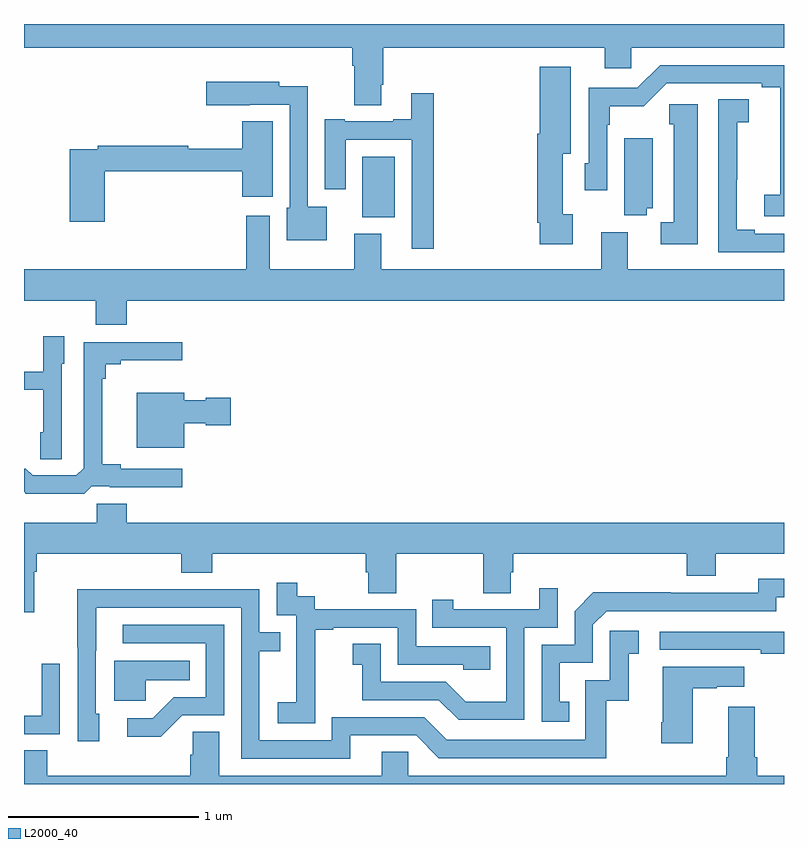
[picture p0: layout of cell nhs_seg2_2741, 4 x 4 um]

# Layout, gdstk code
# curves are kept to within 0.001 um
import gdstk
lib = gdstk.Library(unit=1e-6, precision=1e-09)
def R(c, l, rs):  # rectangles x0, y0, x1, y1
    for r in rs: c.add(gdstk.rectangle(r[:2], r[2:], *l))
def P(c, l, *ps):  # polygons
    for p in ps: c.add(gdstk.Polygon(p, *l))
L2000_40 = (2000, 40)

nhs_seg2_2741 = lib.new_cell('nhs_seg2_2741')
R(nhs_seg2_2741, L2000_40, [(256.781,606.782,256.951,607.102)])
P(nhs_seg2_2741, L2000_40, [(256.879,607.48),(256.892,607.48),(256.892,607.676),(258.056,607.676),(258.056,607.566),(258.195,607.566),(258.195,607.676),(259,607.676),(259,607.8),(255,607.8),(255,607.676),(256.727,607.676),(256.727,607.58),(256.739,607.58),(256.739,607.372),(256.879,607.372)],
  [(259,607.584),(258.348,607.584),(258.228,607.464),(257.973,607.464),(257.973,607.068),(257.952,607.068),(257.952,606.924),(258.069,606.924),(258.069,607.271),(258.082,607.271),(258.082,607.367),(258.263,607.367),(258.384,607.488),(258.884,607.488),(258.884,607.468),(258.98,607.468),(258.979,606.902),(258.897,606.902),(258.897,606.787),(259,606.787)],
  [(257.887,606.798),(257.836,606.798),(257.836,607.118),(257.878,607.118),(257.878,607.576),(257.714,607.576),(257.714,607.222),(257.702,607.222),(257.702,606.754),(257.714,606.754),(257.714,606.642),(257.887,606.642)],
  [(256.594,606.838),(256.494,606.838),(256.494,607.472),(256.344,607.472),(256.344,607.495),(255.96,607.495),(255.96,607.373),(256.187,607.373),(256.187,607.374),(256.398,607.374),(256.398,606.834),(256.382,606.834),(256.382,606.662),(256.594,606.662)],
  [(257.156,607.435),(257.039,607.435),(257.039,607.3),(256.943,607.3),(256.943,607.287),(256.687,607.287),(256.687,607.3),(256.583,607.3),(256.583,606.93),(256.693,606.93),(256.693,607.191),(257.04,607.191),(257.04,606.618),(257.156,606.618)],
  [(259,606.696),(258.847,606.696),(258.847,606.716),(258.751,606.716),(258.751,606.979),(258.753,606.979),(258.753,607.283),(258.814,607.283),(258.814,607.403),(258.654,607.403),(258.654,606.6),(259,606.6)],
  [(258.547,607.378),(258.397,607.378),(258.397,607.272),(258.419,607.272),(258.419,606.756),(258.351,606.756),(258.351,606.641),(258.547,606.641)],
  [(255.425,607.024),(256.148,607.024),(256.148,606.891),(256.309,606.891),(256.309,607.288),(256.148,607.288),(256.148,607.143),(255.864,607.143),(255.864,607.16),(255.388,607.16),(255.388,607.14),(255.242,607.14),(255.242,606.759),(255.425,606.759)],
  [(258.278,606.83),(258.31,606.83),(258.31,607.198),(258.158,607.198),(258.158,606.793),(258.278,606.793)],
  [(255.541,606.344),(259,606.344),(259,606.508),(258.178,606.508),(258.178,606.703),(258.038,606.703),(258.038,606.508),(256.879,606.508),(256.879,606.697),(256.739,606.697),(256.739,606.508),(256.294,606.508),(256.294,606.79),(256.169,606.79),(256.169,606.508),(255,606.508),(255,606.344),(255.377,606.344),(255.377,606.216),(255.541,606.216)],
  [(255.198,606.012),(255.211,606.012),(255.211,606.157),(255.102,606.157),(255.102,605.971),(255,605.971),(255,605.874),(255.102,605.874),(255.102,605.652),(255.086,605.652),(255.086,605.509),(255.198,605.509)],
  [(255.357,605.367),(255.451,605.367),(255.451,605.363),(255.832,605.363),(255.832,605.46),(255.508,605.46),(255.508,605.483),(255.413,605.483),(255.413,605.933),(255.431,605.933),(255.431,606.01),(255.508,606.01),(255.508,606.029),(255.832,606.029),(255.832,606.126),(255.315,606.126),(255.315,605.463),(255.276,605.424),(255.045,605.424),(255.009,605.46),(255,605.46),(255,605.338),(255.01,605.328),(255.317,605.328)],
  [(255.844,605.699),(255.957,605.699),(255.957,605.687),(256.087,605.687),(256.087,605.834),(255.957,605.834),(255.957,605.821),(255.844,605.821),(255.844,605.86),(255.593,605.86),(255.593,605.57),(255.844,605.57)],
  [(255.055,604.916),(255.068,604.916),(255.068,605.012),(255.827,605.012),(255.827,604.913),(255.992,604.913),(255.992,605.012),(256.799,605.012),(256.799,604.914),(256.811,604.914),(256.811,604.804),(256.959,604.804),(256.959,605.012),(257.416,605.012),(257.416,604.804),(257.563,604.804),(257.563,604.914),(257.576,604.914),(257.576,605.012),(258.488,605.012),(258.488,604.895),(258.64,604.895),(258.64,605.012),(259,605.012),(259,605.176),(255.542,605.176),(255.542,605.274),(255.382,605.274),(255.382,605.176),(255,605.176),(255,604.703),(255.055,604.703)],
  [(257.87,604.233),(257.821,604.233),(257.821,604.437),(257.994,604.437),(257.994,604.638),(258.066,604.71),(258.96,604.71),(258.96,604.782),(259,604.782),(259,604.879),(258.864,604.879),(258.864,604.806),(258.404,604.806),(258.404,604.808),(257.996,604.808),(257.898,604.71),(257.898,604.533),(257.724,604.533),(257.724,604.128),(257.87,604.128)],
  [(256.533,604.327),(256.532,604.327),(256.532,604.611),(256.627,604.611),(256.627,604.623),(256.968,604.623),(256.968,604.428),(257.313,604.428),(257.313,604.401),(257.453,604.401),(257.453,604.524),(257.064,604.524),(257.064,604.719),(256.53,604.719),(256.53,604.788),(256.438,604.788),(256.438,604.858),(256.329,604.858),(256.329,604.689),(256.434,604.689),(256.434,604.46),(256.433,604.46),(256.433,604.231),(256.335,604.231),(256.335,604.121),(256.533,604.121)],
  [(257.634,604.623),(257.808,604.623),(257.808,604.831),(257.711,604.831),(257.711,604.719),(257.26,604.719),(257.26,604.771),(257.149,604.771),(257.149,604.623),(257.538,604.623),(257.538,604.234),(257.324,604.234),(257.22,604.338),(256.878,604.338),(256.878,604.537),(256.731,604.537),(256.731,604.427),(256.779,604.427),(256.779,604.242),(257.183,604.242),(257.288,604.137),(257.634,604.137)],
  [(256.717,604.056),(257.064,604.056),(257.184,603.936),(258.064,603.936),(258.064,604.239),(258.182,604.239),(258.182,604.485),(258.235,604.485),(258.235,604.606),(258.084,604.606),(258.084,604.347),(257.955,604.347),(257.955,604.032),(257.226,604.032),(257.106,604.152),(256.62,604.152),(256.62,604.029),(256.239,604.029),(256.239,604.498),(256.349,604.498),(256.349,604.599),(256.239,604.599),(256.239,604.824),(255.743,604.824),(255.743,604.826),(255.28,604.826),(255.28,604.519),(255.282,604.519),(255.282,604.026),(255.397,604.026),(255.397,604.17),(255.378,604.17),(255.379,604.728),(256.143,604.728),(256.143,603.933),(256.717,603.933)],
  [(255.834,604.161),(256.053,604.161),(256.053,604.638),(255.519,604.638),(255.519,604.542),(255.957,604.542),(255.957,604.257),(255.788,604.257),(255.677,604.146),(255.543,604.146),(255.543,604.049),(255.721,604.049)],
  [(259,604.602),(258.345,604.602),(258.345,604.506),(258.877,604.506),(258.877,604.486),(259,604.486)],
  [(255.642,604.346),(255.872,604.346),(255.872,604.45),(255.476,604.45),(255.476,604.238),(255.642,604.238)],
  [(255.189,604.432),(255.093,604.432),(255.093,604.158),(255,604.158),(255,604.062),(255.189,604.062)],
  [(258.52,604.303),(258.647,604.303),(258.647,604.313),(258.79,604.313),(258.79,604.417),(258.362,604.417),(258.362,604.126),(258.355,604.126),(258.355,604.014),(258.52,604.014)],
  [(259,603.844),(258.86,603.844),(258.86,603.94),(258.847,603.94),(258.847,604.207),(258.707,604.207),(258.707,603.94),(258.695,603.94),(258.695,603.844),(257.022,603.844),(257.022,603.971),(256.883,603.971),(256.883,603.844),(256.027,603.844),(256.027,604.076),(255.888,604.076),(255.888,603.953),(255.875,603.953),(255.875,603.844),(255.122,603.844),(255.122,603.977),(255,603.977),(255,603.8),(259,603.8)])

lib.write_gds('nhs_seg2_2741.gds')
